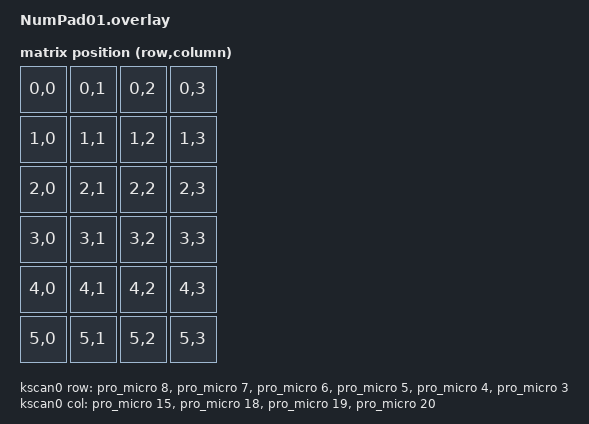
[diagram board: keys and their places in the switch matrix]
#include <dt-bindings/zmk/matrix_transform.h>

/ {
    chosen {
        zmk,kscan = &kscan0;
        zmk,matrix_transform = &default_transform;
    };

    default_transform: keymap_transform0 {
        compatible = "zmk,matrix-transform";
        columns = <4>;
        rows = <6>;

        map = <
            RC(0,0) RC(0,1) RC(0,2) RC(0,3)
            RC(1,0) RC(1,1) RC(1,2) RC(1,3)
            RC(2,0) RC(2,1) RC(2,2) RC(2,3)
            RC(3,0) RC(3,1) RC(3,2) RC(3,3)
            RC(4,0) RC(4,1) RC(4,2) RC(4,3)
            RC(5,0) RC(5,1) RC(5,2) RC(5,3)
        >;
    };

    kscan0: kscan0 {
        compatible = "zmk,kscan-gpio-matrix";
        diode-direction = "col2row";
        wakeup-source;

                                                        // NRF  - Ardu  - PCB
        col-gpios = <&pro_micro 15 GPIO_ACTIVE_HIGH>,   // 113  - 15    - C0 
                    <&pro_micro 18 GPIO_ACTIVE_HIGH>,   // 115  - 18    - C1
                    <&pro_micro 19 GPIO_ACTIVE_HIGH>,   // 002  - 19    - C2
                    <&pro_micro 20 GPIO_ACTIVE_HIGH>;   // 029  - 20    - C3
                    
                                                                        // NRF  - Ardu  - PCB
        row-gpios = <&pro_micro 8 (GPIO_ACTIVE_HIGH | GPIO_PULL_DOWN)>, // 104  - 8     - R0
                    <&pro_micro 7 (GPIO_ACTIVE_HIGH | GPIO_PULL_DOWN)>, // 011  - 7     - R1
                    <&pro_micro 6 (GPIO_ACTIVE_HIGH | GPIO_PULL_DOWN)>, // 100  - 6     - R2
                    <&pro_micro 5 (GPIO_ACTIVE_HIGH | GPIO_PULL_DOWN)>, // 024  - 5     - R3
                    <&pro_micro 4 (GPIO_ACTIVE_HIGH | GPIO_PULL_DOWN)>, // 022  - 4     - R4
                    <&pro_micro 3 (GPIO_ACTIVE_HIGH | GPIO_PULL_DOWN)>; // 020  - 3     - R5

    };
};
